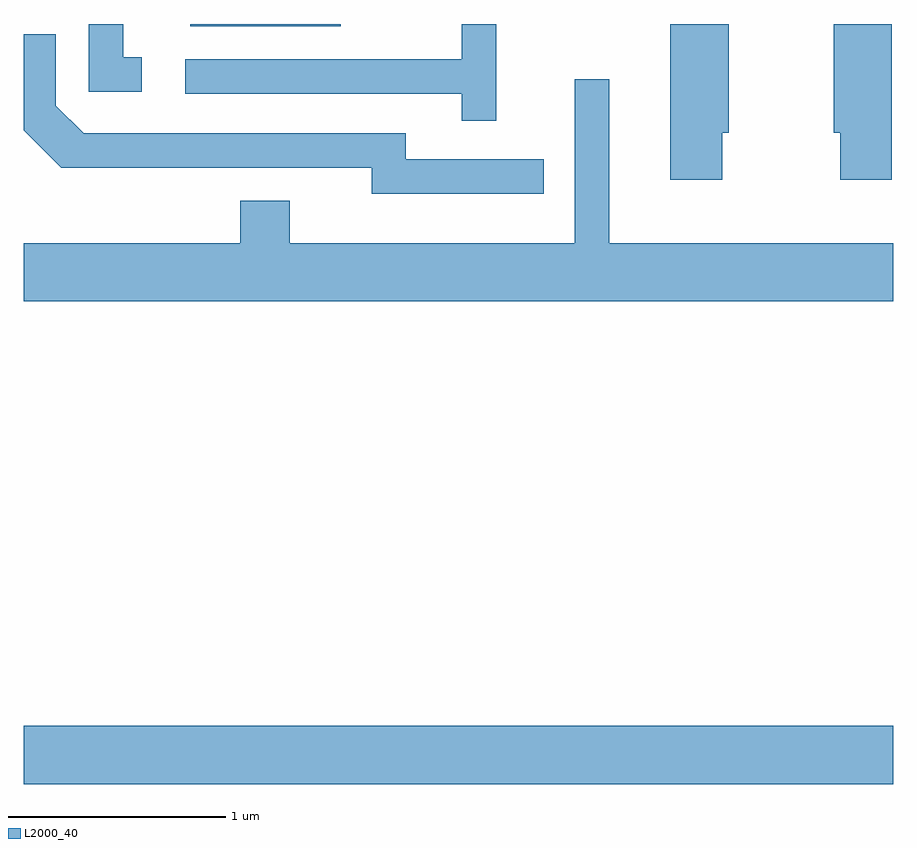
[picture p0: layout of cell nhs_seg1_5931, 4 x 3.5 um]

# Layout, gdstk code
import gdstk
lib = gdstk.Library(unit=1e-6, precision=1e-09)
def R(c, l, rs):  # rectangles x0, y0, x1, y1
    for r in rs: c.add(gdstk.rectangle(r[:2], r[2:], *l))
def P(c, l, *ps):  # polygons
    for p in ps: c.add(gdstk.Polygon(p, *l))
L2000_40 = (2000, 40)

nhs_seg1_5931 = lib.new_cell('nhs_seg1_5931')
R(nhs_seg1_5931, L2000_40, [(363.611,926.216,367.611,926.484), (364.376,929.701,365.069,929.712)])
P(nhs_seg1_5931, L2000_40, [(364.153,929.559),(364.069,929.559),(364.069,929.712),(363.911,929.712),(363.911,929.401),(364.153,929.401)],
  [(366.824,929.211),(366.854,929.211),(366.854,929.712),(366.586,929.712),(366.586,928.996),(366.824,928.996)],
  [(367.604,929.712),(367.336,929.712),(367.336,929.211),(367.366,929.211),(367.366,928.996),(367.604,928.996)],
  [(365.784,929.712),(365.626,929.712),(365.626,929.549),(364.353,929.549),(364.353,929.391),(365.626,929.391),(365.626,929.268),(365.784,929.268)],
  [(366.003,929.089),(365.369,929.089),(365.369,929.209),(363.887,929.209),(363.759,929.337),(363.759,929.664),(363.611,929.664),(363.611,929.224),(363.784,929.051),(365.211,929.051),(365.211,928.931),(366.003,928.931)],
  [(367.611,928.704),(366.304,928.704),(366.304,929.458),(366.146,929.458),(366.146,928.704),(364.834,928.704),(364.834,928.899),(364.606,928.899),(364.606,928.704),(363.611,928.704),(363.611,928.436),(367.611,928.436)])

lib.write_gds('nhs_seg1_5931.gds')
